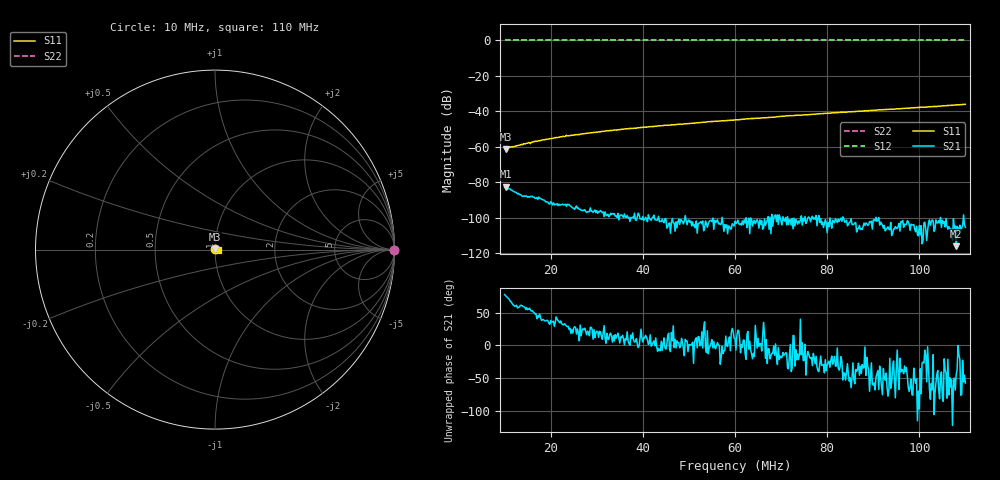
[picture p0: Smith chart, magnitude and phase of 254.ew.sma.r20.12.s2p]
! Anritsu VNA Master:  Model: MS2036C/10/77
! SN:  1601066
! /card0/usr/254.ew.sma.r20.12.s2p
! Existing Calibration Information:
! TYPE:  Current Settings,  Active Cal Settings
! TIME:  12/20/2017 12:39:13 PM,  12/20/2017 12:32:09 PM
! INTERNAL TEMP:  45.3 C,  45.8 C
! # POINTS:  501,  501
! START FREQ:  10.000 MHz,  10.000 MHz
! STOP FREQ:  110.000 MHz,  110.000 MHz
! SOURCE POWER:  High,  High
! IFBW:  100 Hz,  100 Hz
! AVG FACTOR:  1 ,  1
! REF PLANE 1:  0 mm,  0 mm
! REF PLANE 2:  0 mm,  0 mm
! CAL TYPE:  Full S11,  Full S11
! CAL METHOD:  SOLT,  SOLT
! CAL LINE TYPE:  Coax,  Coax
! DUT PORT 1:  N-Conn(F),  N-Conn(F)
! DUT PORT 2:  K-Conn(F),  K-Conn(F)
! CAL STATUS:  OK: Accuracy High,  --
# GHZ S DB R 50.0
! FREQ.GHZ  S11DB  S11A  S21DB  S21A  S12DB  S12A  S22DB  S22A
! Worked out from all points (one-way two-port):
!   501 points, 10 MHz to 110 MHz, reference 50 ohm
!   highest |S21| = -82.42 dB at 10.2 MHz (marker M1); lowest = -115.9 dB at 108 MHz (marker M2)
!   lowest |S11| = -61.3 dB at 10.2 MHz (marker M3), VSWR 1.00, Z = 50 + j0.0861 ohm
!   |S11| at or under -10 dB: start of sweep to end of sweep
!   |S22| runs from 0.0 to 0.0 dB; largest |S21 - S12| = 1
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0.01  -60.87 91.5  -82.77 77.7  0.00 0.0  0.00 0.0
0.0102  -61.30 89.2  -82.42 76.0  0.00 0.0  0.00 0.0
0.0106  -60.65 88.2  -83.20 73.4  0.00 0.0  0.00 0.0
0.0114  -59.87 87.5  -84.30 66.8  0.00 0.0  0.00 0.0
0.0124  -59.51 84.1  -85.51 60.4  0.00 0.0  0.00 0.0
0.015  -57.92 79.9  -88.35 54.5  0.00 0.0  0.00 0.0
0.0158  -57.39 78.5  -87.98 52.5  0.00 0.0  0.00 0.0
0.0164  -56.90 77.6  -88.26 50.0  0.00 0.0  0.00 0.0
0.0224  -54.21 72.8  -92.46 33.1  0.00 0.0  0.00 0.0
0.0268  -52.65 68.4  -95.56 22.9  0.00 0.0  0.00 0.0
0.032  -50.94 64.2  -98.32 3.3  0.00 0.0  0.00 0.0
0.0364  -49.81 59.8  -99.77 8.5  0.00 0.0  0.00 0.0
0.0434  -48.08 53.9  -99.04 -4.5  0.00 0.0  0.00 0.0
0.0546  -45.79 43.7  -101.45 -1.0  0.00 0.0  0.00 0.0
0.06  -44.77 39.4  -101.83 10.0  0.00 0.0  0.00 0.0
0.0678  -43.27 32.2  -108.86 -16.0  0.00 0.0  0.00 0.0
0.0716  -42.45 28.9  -103.68 -35.9  0.00 0.0  0.00 0.0
0.0768  -41.66 23.9  -99.03 -30.9  0.00 0.0  0.00 0.0
0.0812  -40.77 20.2  -101.29 -28.6  0.00 0.0  0.00 0.0
0.0934  -38.83 8.3  -106.37 -67.8  0.00 0.0  0.00 0.0
0.108  -36.37 -7.1  -115.88 -45.0  0.00 0.0  0.00 0.0
0.11  -35.98 -9.6  -105.25 -57.6  0.00 0.0  0.00 0.0
